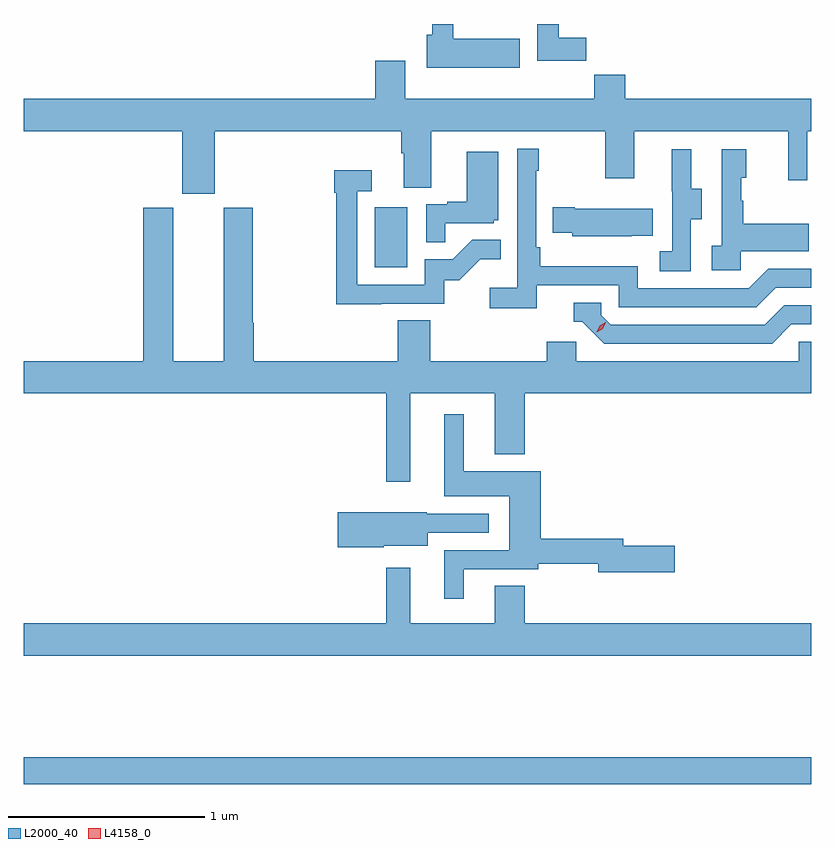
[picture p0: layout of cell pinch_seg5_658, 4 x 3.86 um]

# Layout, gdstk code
import gdstk
lib = gdstk.Library(unit=1e-6, precision=1e-09)
def R(c, l, rs):  # rectangles x0, y0, x1, y1
    for r in rs: c.add(gdstk.rectangle(r[:2], r[2:], *l))
def P(c, l, *ps):  # polygons
    for p in ps: c.add(gdstk.Polygon(p, *l))
L2000_40 = (2000, 40)
L4158_0 = (4158, 0)

pinch_seg5_658 = lib.new_cell('pinch_seg5_658')
R(pinch_seg5_658, L2000_40, [(1059.307,845.452,1063.307,845.588), (1061.09,848.076,1061.254,848.383)])
P(pinch_seg5_658, L2000_40, [(1061.827,849.238),(1061.488,849.238),(1061.488,849.313),(1061.381,849.313),(1061.381,849.258),(1061.354,849.258),(1061.354,849.092),(1061.827,849.092)],
  [(1062.164,849.244),(1062.025,849.244),(1062.025,849.313),(1061.915,849.313),(1061.915,849.126),(1062.164,849.126)],
  [(1060.276,848.768),(1061.225,848.768),(1061.225,848.656),(1061.237,848.656),(1061.237,848.482),(1061.377,848.482),(1061.377,848.768),(1062.262,848.768),(1062.262,848.529),(1062.409,848.529),(1062.409,848.768),(1063.19,848.768),(1063.19,848.52),(1063.287,848.52),(1063.287,848.768),(1063.307,848.768),(1063.307,848.932),(1062.362,848.932),(1062.362,849.056),(1062.205,849.056),(1062.205,848.932),(1061.245,848.932),(1061.245,849.127),(1061.093,849.127),(1061.093,848.932),(1059.307,848.932),(1059.307,848.768),(1060.112,848.768),(1060.112,848.451),(1060.276,848.451)],
  [(1061.912,847.986),(1062.33,847.986),(1062.33,847.875),(1063.027,847.875),(1063.126,847.974),(1063.307,847.974),(1063.307,848.07),(1063.089,848.07),(1062.99,847.971),(1062.426,847.971),(1062.426,848.083),(1061.93,848.083),(1061.93,848.179),(1061.91,848.179),(1061.91,848.567),(1061.923,848.567),(1061.923,848.68),(1061.814,848.68),(1061.814,847.972),(1061.673,847.972),(1061.673,847.87),(1061.912,847.87)],
  [(1062.696,848.32),(1062.751,848.32),(1062.751,848.475),(1062.697,848.475),(1062.697,848.677),(1062.599,848.677),(1062.599,848.463),(1062.6,848.463),(1062.6,848.159),(1062.537,848.159),(1062.537,848.056),(1062.696,848.056)],
  [(1062.948,848.159),(1063.295,848.159),(1063.295,848.299),(1062.961,848.299),(1062.961,848.414),(1062.951,848.414),(1062.951,848.532),(1062.976,848.532),(1062.976,848.677),(1062.852,848.677),(1062.852,848.186),(1062.801,848.186),(1062.801,848.061),(1062.948,848.061)],
  [(1061.447,848.301),(1061.694,848.301),(1061.694,848.316),(1061.716,848.316),(1061.716,848.665),(1061.558,848.665),(1061.558,848.41),(1061.459,848.41),(1061.459,848.397),(1061.352,848.397),(1061.352,848.203),(1061.447,848.203)],
  [(1061.123,847.893),(1061.442,847.893),(1061.442,848.01),(1061.518,848.01),(1061.625,848.117),(1061.729,848.117),(1061.729,848.216),(1061.585,848.216),(1061.487,848.118),(1061.343,848.118),(1061.343,847.989),(1061.001,847.989),(1061.001,848.463),(1061.074,848.463),(1061.074,848.569),(1060.885,848.569),(1060.885,848.456),(1060.893,848.456),(1060.893,847.888),(1061.123,847.888)],
  [(1062.395,848.237),(1062.503,848.237),(1062.503,848.374),(1062.106,848.374),(1062.106,848.382),(1061.995,848.382),(1061.995,848.252),(1062.093,848.252),(1062.093,848.234),(1062.395,848.234)],
  [(1061.269,847.436),(1061.699,847.436),(1061.699,847.127),(1061.852,847.127),(1061.852,847.436),(1063.307,847.436),(1063.307,847.698),(1063.245,847.698),(1063.245,847.6),(1062.114,847.6),(1062.114,847.698),(1061.963,847.698),(1061.963,847.6),(1061.372,847.6),(1061.372,847.808),(1061.207,847.808),(1061.207,847.6),(1060.475,847.6),(1060.475,847.796),(1060.47,847.796),(1060.47,848.379),(1060.322,848.379),(1060.322,847.6),(1060.066,847.6),(1060.066,848.379),(1059.914,848.379),(1059.914,847.6),(1059.307,847.6),(1059.307,847.436),(1061.148,847.436),(1061.148,846.987),(1061.269,846.987)],
  [(1063.207,847.788),(1063.307,847.788),(1063.307,847.884),(1063.17,847.884),(1063.071,847.785),(1062.288,847.785),(1062.24,847.833),(1062.24,847.896),(1062.101,847.896),(1062.101,847.8),(1062.144,847.8),(1062.255,847.689),(1063.108,847.689)],
  [(1061.542,846.543),(1061.92,846.543),(1061.92,846.57),(1062.224,846.57),(1062.224,846.527),(1062.613,846.527),(1062.613,846.662),(1062.352,846.662),(1062.352,846.698),(1061.933,846.698),(1061.933,847.042),(1061.542,847.042),(1061.542,847.33),(1061.444,847.33),(1061.444,846.914),(1061.774,846.914),(1061.774,846.639),(1061.444,846.639),(1061.444,846.393),(1061.542,846.393)],
  [(1061.136,846.662),(1061.359,846.662),(1061.359,846.729),(1061.668,846.729),(1061.668,846.825),(1061.355,846.825),(1061.355,846.833),(1060.902,846.833),(1060.902,846.655),(1061.136,846.655)],
  [(1063.307,846.268),(1061.852,846.268),(1061.852,846.458),(1061.699,846.458),(1061.699,846.268),(1061.269,846.268),(1061.269,846.55),(1061.148,846.55),(1061.148,846.268),(1059.307,846.268),(1059.307,846.104),(1063.307,846.104)])
P(pinch_seg5_658, L4158_0, [(1062.218,847.746),(1062.218,847.746),(1062.234,847.779),(1062.264,847.799),(1062.264,847.799),(1062.264,847.798),(1062.249,847.766),(1062.218,847.746)])

lib.write_gds('pinch_seg5_658.gds')
